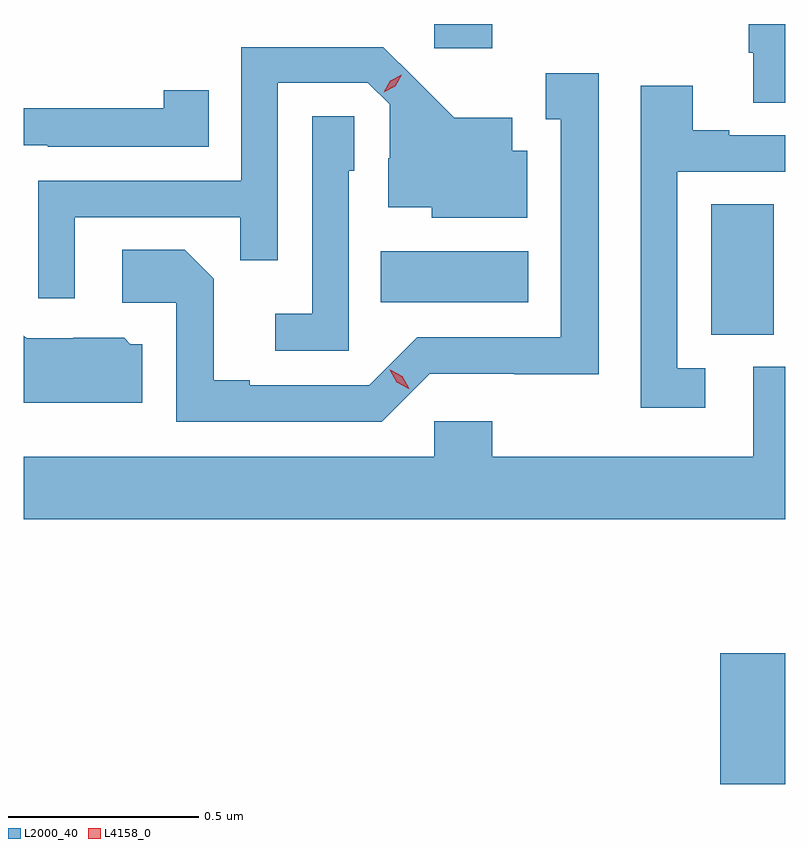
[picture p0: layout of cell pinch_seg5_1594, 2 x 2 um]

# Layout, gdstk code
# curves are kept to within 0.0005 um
import gdstk
lib = gdstk.Library(unit=1e-6, precision=1e-09)
def R(c, l, rs):  # rectangles x0, y0, x1, y1
    for r in rs: c.add(gdstk.rectangle(r[:2], r[2:], *l))
def P(c, l, *ps):  # polygons
    for p in ps: c.add(gdstk.Polygon(p, *l))
L2000_40 = (2000, 40)
L4158_0 = (4158, 0)

pinch_seg5_1594 = lib.new_cell('pinch_seg5_1594')
R(pinch_seg5_1594, L2000_40, [(301.208,858.728,301.378,859.072), (301.184,859.909,301.348,860.252), (300.316,859.994,300.703,860.128), (300.456,860.661,300.608,860.725)])
P(pinch_seg5_1594, L2000_40, [(301.378,860.725),(301.283,860.725),(301.283,860.65),(301.295,860.65),(301.295,860.518),(301.378,860.518)],
  [(299.511,860.217),(299.947,860.217),(299.947,860.104),(300.045,860.104),(300.045,860.571),(300.282,860.571),(300.339,860.514),(300.339,860.372),(300.335,860.372),(300.335,860.243),(300.45,860.243),(300.45,860.216),(300.7,860.216),(300.7,860.392),(300.661,860.392),(300.661,860.479),(300.509,860.479),(300.322,860.664),(299.949,860.664),(299.949,860.313),(299.415,860.313),(299.415,860.004),(299.511,860.004)],
  [(300.444,859.806),(300.666,859.806),(300.666,859.805),(300.889,859.805),(300.889,860.596),(300.749,860.596),(300.749,860.475),(300.788,860.475),(300.788,859.902),(300.411,859.902),(300.285,859.776),(299.971,859.776),(299.971,859.789),(299.877,859.789),(299.877,860.056),(299.801,860.132),(299.637,860.132),(299.637,859.992),(299.778,859.992),(299.778,859.68),(300.318,859.68)],
  [(301.168,859.821),(301.095,859.821),(301.095,860.337),(301.378,860.337),(301.378,860.433),(301.231,860.433),(301.231,860.446),(301.135,860.446),(301.135,860.563),(300.999,860.563),(300.999,859.716),(301.168,859.716)],
  [(299.864,860.551),(299.746,860.551),(299.746,860.504),(299.389,860.504),(299.389,860.503),(299.378,860.503),(299.378,860.406),(299.44,860.406),(299.44,860.403),(299.864,860.403)],
  [(300.231,860.34),(300.246,860.34),(300.246,860.483),(300.135,860.483),(300.135,859.963),(300.039,859.963),(300.039,859.866),(300.231,859.866)],
  [(299.689,859.884),(299.658,859.884),(299.642,859.9),(299.508,859.9),(299.508,859.899),(299.385,859.899),(299.378,859.906),(299.378,859.73),(299.689,859.73)],
  [(301.378,859.824),(301.295,859.824),(301.295,859.588),(300.608,859.588),(300.608,859.681),(300.456,859.681),(300.456,859.588),(299.378,859.588),(299.378,859.424),(301.378,859.424)])
P(pinch_seg5_1594, L4158_0, [(300.389,859.766),(300.358,859.784),(300.339,859.817),(300.339,859.817),(300.34,859.817),(300.372,859.799),(300.39,859.766),(300.39,859.766)],
  [(300.323,860.546),(300.323,860.546),(300.34,860.576),(300.371,860.592),(300.371,860.592),(300.371,860.592),(300.354,860.562),(300.324,860.546)])

lib.write_gds('pinch_seg5_1594.gds')
